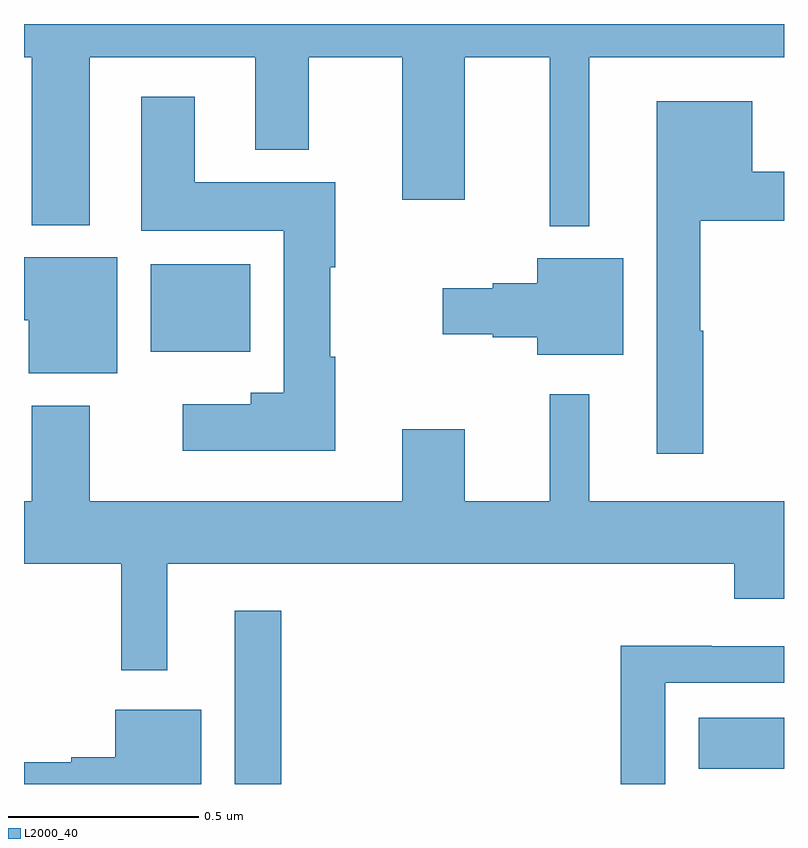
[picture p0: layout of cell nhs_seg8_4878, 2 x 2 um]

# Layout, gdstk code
import gdstk
lib = gdstk.Library(unit=1e-6, precision=1e-09)
def R(c, l, rs):  # rectangles x0, y0, x1, y1
    for r in rs: c.add(gdstk.rectangle(r[:2], r[2:], *l))
def P(c, l, *ps):  # polygons
    for p in ps: c.add(gdstk.Polygon(p, *l))
L2000_40 = (2000, 40)

nhs_seg8_4878 = lib.new_cell('nhs_seg8_4878')
R(nhs_seg8_4878, L2000_40, [(176.555,1135.9,176.677,1136.356), (177.776,1135.94,178,1136.074), (176.333,1137.038,176.596,1137.268)])
P(nhs_seg8_4878, L2000_40, [(177.487,1137.812),(178,1137.812),(178,1137.9),(176,1137.9),(176,1137.812),(176.021,1137.812),(176.021,1137.371),(176.173,1137.371),(176.173,1137.812),(176.609,1137.812),(176.609,1137.569),(176.749,1137.569),(176.749,1137.812),(176.996,1137.812),(176.996,1137.438),(177.16,1137.438),(177.16,1137.812),(177.383,1137.812),(177.383,1137.368),(177.487,1137.368)],
  [(176.819,1137.025),(176.806,1137.025),(176.806,1137.26),(176.819,1137.26),(176.819,1137.484),(176.449,1137.484),(176.449,1137.709),(176.309,1137.709),(176.309,1137.356),(176.684,1137.356),(176.684,1136.929),(176.597,1136.929),(176.597,1136.899),(176.418,1136.899),(176.418,1136.777),(176.819,1136.777)],
  [(177.787,1137.093),(177.779,1137.093),(177.779,1137.382),(178,1137.382),(178,1137.511),(177.916,1137.511),(177.916,1137.697),(177.665,1137.697),(177.665,1136.769),(177.787,1136.769)],
  [(176.245,1137.286),(176,1137.286),(176,1137.121),(176.012,1137.121),(176.012,1136.981),(176.245,1136.981)],
  [(177.577,1137.283),(177.35,1137.283),(177.35,1137.218),(177.234,1137.218),(177.234,1137.205),(177.102,1137.205),(177.102,1137.083),(177.234,1137.083),(177.234,1137.076),(177.35,1137.076),(177.35,1137.029),(177.577,1137.029)],
  [(176.377,1136.48),(177.869,1136.48),(177.869,1136.387),(178,1136.387),(178,1136.644),(177.487,1136.644),(177.487,1136.926),(177.383,1136.926),(177.383,1136.644),(177.16,1136.644),(177.16,1136.833),(176.996,1136.833),(176.996,1136.644),(176.173,1136.644),(176.173,1136.896),(176.021,1136.896),(176.021,1136.644),(176,1136.644),(176,1136.48),(176.256,1136.48),(176.256,1136.199),(176.377,1136.199)],
  [(177.688,1136.166),(178,1136.166),(178,1136.262),(177.81,1136.262),(177.81,1136.264),(177.57,1136.264),(177.57,1135.9),(177.688,1135.9)],
  [(176.467,1136.095),(176.24,1136.095),(176.24,1135.97),(176.124,1135.97),(176.124,1135.957),(176,1135.957),(176,1135.9),(176.467,1135.9)])

lib.write_gds('nhs_seg8_4878.gds')
